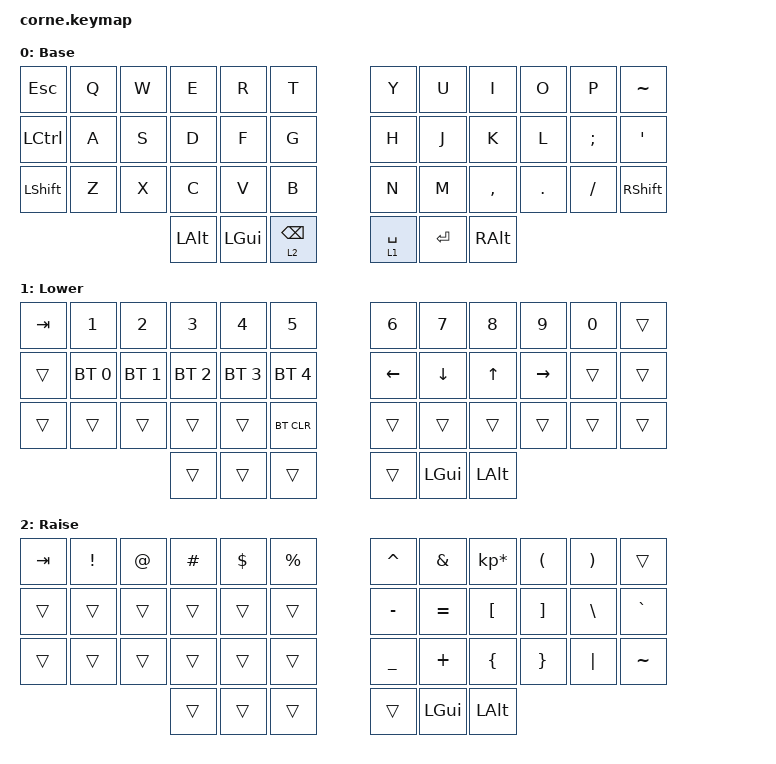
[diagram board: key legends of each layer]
/*
 * Copyright (c) 2020 The ZMK Contributors
 *
 * SPDX-License-Identifier: MIT
 */

#include <behaviors.dtsi>
#include <dt-bindings/zmk/bt.h>
#include <dt-bindings/zmk/keys.h>

/ {
    keymap {
        compatible = "zmk,keymap";

        default_layer {
            // -----------------------------------------------------------------------------------------
            // |  TAB |  Q  |  W  |  E  |  R  |  T  |   |  Y  |  U   |  I  |  O  |  P  | BKSP |
            // | CTRL |  A  |  S  |  D  |  F  |  G  |   |  H  |  J   |  K  |  L  |  ;  |  '   |
            // | SHFT |  Z  |  X  |  C  |  V  |  B  |   |  N  |  M   |  ,  |  .  |  /  | ESC  |
            //                    | GUI | LWR | SPC |   | ENT | RSE  | ALT |

            display-name = "Base";
            bindings = <
&kp ESCAPE  &kp Q  &kp W  &kp E         &kp R         &kp T              &kp Y        &kp U      &kp I          &kp O    &kp P     &kp TILDE
&kp LCTRL   &kp A  &kp S  &kp D         &kp F         &kp G              &kp H        &kp J      &kp K          &kp L    &kp SEMI  &kp SQT
&kp LSHFT   &kp Z  &kp X  &kp C         &kp V         &kp B              &kp N        &kp M      &kp COMMA      &kp DOT  &kp FSLH  &kp RIGHT_SHIFT
                          &kp LEFT_ALT  &kp LEFT_GUI  &lt 2 BACKSPACE    &lt 1 SPACE  &kp ENTER  &kp RIGHT_ALT
            >;
        };

        lower_layer {
            // -----------------------------------------------------------------------------------------
            // |  TAB |  1  |  2  |  3  |  4  |  5  |   |  6  |  7  |  8  |  9  |  0  | BKSP |
            // | BTCLR| BT1 | BT2 | BT3 | BT4 | BT5 |   | LFT | DWN |  UP | RGT |     |      |
            // | SHFT |     |     |     |     |     |   |     |     |     |     |     |      |
            //                    | GUI |     | SPC |   | ENT |     | ALT |

            display-name = "Lower";
            bindings = <
&kp TAB  &kp N1        &kp N2        &kp N3        &kp N4        &kp N5          &kp N6    &kp N7        &kp N8        &kp N9     &kp N0  &trans
&trans   &bt BT_SEL 0  &bt BT_SEL 1  &bt BT_SEL 2  &bt BT_SEL 3  &bt BT_SEL 4    &kp LEFT  &kp DOWN      &kp UP        &kp RIGHT  &trans  &trans
&trans   &trans        &trans        &trans        &trans        &bt BT_CLR      &trans    &trans        &trans        &trans     &trans  &trans
                                     &trans        &trans        &trans          &trans    &kp LEFT_GUI  &kp LEFT_ALT
            >;
        };

        raise_layer {
            // -----------------------------------------------------------------------------------------
            // |  TAB |  !  |  @  |  #  |  $  |  %  |   |  ^  |  &  |  *  |  (  |  )  | BKSP |
            // | CTRL |     |     |     |     |     |   |  -  |  =  |  [  |  ]  |  \  |  `   |
            // | SHFT |     |     |     |     |     |   |  _  |  +  |  {  |  }  | "|" |  ~   |
            //                    | GUI |     | SPC |   | ENT |     | ALT |

            display-name = "Raise";
            bindings = <
&kp TAB  &kp EXCL  &kp AT  &kp HASH  &kp DLLR  &kp PRCNT    &kp CARET  &kp AMPS      &kp KP_MULTIPLY  &kp LPAR  &kp RPAR  &trans
&trans   &trans    &trans  &trans    &trans    &trans       &kp MINUS  &kp EQUAL     &kp LBKT         &kp RBKT  &kp BSLH  &kp GRAVE
&trans   &trans    &trans  &trans    &trans    &trans       &kp UNDER  &kp PLUS      &kp LBRC         &kp RBRC  &kp PIPE  &kp TILDE
                           &trans    &trans    &trans       &trans     &kp LEFT_GUI  &kp LEFT_ALT
            >;
        };
    };
};
